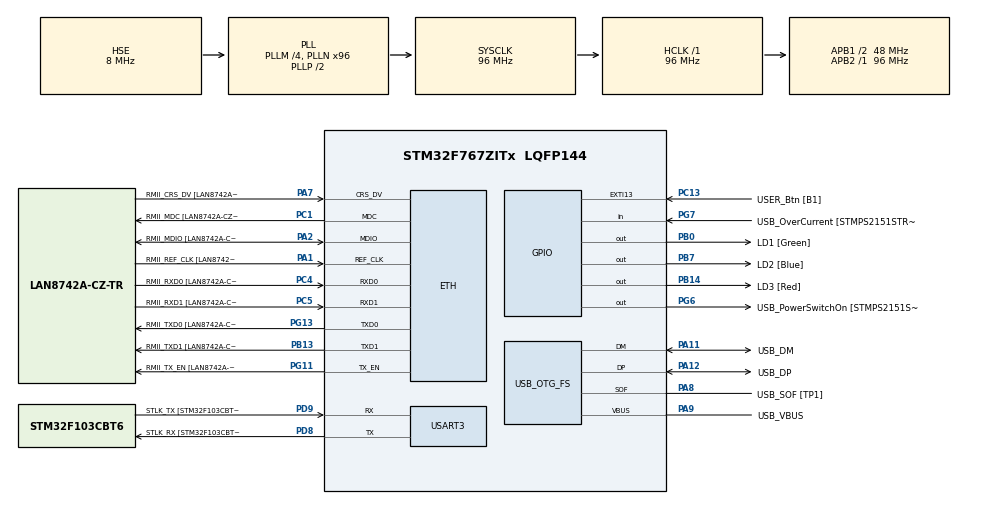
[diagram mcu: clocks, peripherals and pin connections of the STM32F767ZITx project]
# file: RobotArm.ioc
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CORTEX_M7.AccessPermission-Cortex_Memory_Protection_Unit_Region0_Settings=MPU_REGION_FULL_ACCESS
CORTEX_M7.AccessPermission-Cortex_Memory_Protection_Unit_Region1_Settings=MPU_REGION_FULL_ACCESS
CORTEX_M7.BaseAddress-Cortex_Memory_Protection_Unit_Region0_Settings=0x2007C000
CORTEX_M7.BaseAddress-Cortex_Memory_Protection_Unit_Region1_Settings=0x2007C000
CORTEX_M7.CPU_DCache=Disabled
CORTEX_M7.CPU_ICache=Disabled
CORTEX_M7.Enable-Cortex_Memory_Protection_Unit_Region0_Settings=MPU_REGION_ENABLE
CORTEX_M7.Enable-Cortex_Memory_Protection_Unit_Region1_Settings=MPU_REGION_ENABLE
CORTEX_M7.Enable_S-Cortex_Memory_Protection_Unit_Region1_Settings_S=__NULL
CORTEX_M7.IsBufferable-Cortex_Memory_Protection_Unit_Region1_Settings=MPU_ACCESS_BUFFERABLE
CORTEX_M7.IsShareable-Cortex_Memory_Protection_Unit_Region0_Settings=MPU_ACCESS_SHAREABLE
CORTEX_M7.IsShareable-Cortex_Memory_Protection_Unit_Region1_Settings=MPU_ACCESS_SHAREABLE
CORTEX_M7.MPU_Control=MPU_PRIVILEGED_DEFAULT
CORTEX_M7.Size-Cortex_Memory_Protection_Unit_Region0_Settings=MPU_REGION_SIZE_16KB
CORTEX_M7.Size-Cortex_Memory_Protection_Unit_Region1_Settings=MPU_REGION_SIZE_256B
CORTEX_M7.TypeExtField-Cortex_Memory_Protection_Unit_Region0_Settings=MPU_TEX_LEVEL1
CORTEX_M7.default_mode_Activation=0
ETH.MediaInterface=HAL_ETH_RMII_MODE
ETH.PHY_Name=LAN8742A_PHY_ADDRESS
ETH.PHY_Value=0
ETH.PhyAddress=0
FREERTOS.Tasks01=defaultTask,24,256,StartDefaultTask,Default,NULL,Dynamic,NULL,NULL
LWIP.BSP.number=1
LWIP.GATEWAY_ADDRESS=192.168.001.001
LWIP.IP_ADDRESS=192.168.001.010
LWIP.LWIP_DHCP=0
LWIP.NETMASK_ADDRESS=255.255.255.000
LWIP.Version=v2.1.2_Cube
LWIP0.BSP.STBoard=false
LWIP0.BSP.api=BSP_COMPONENT_DRIVER
LWIP0.BSP.component=LAN8742
LWIP0.BSP.instance=LAN8742
LWIP0.BSP.name=Driver_PHY
LWIP0.BSP.semaphore=S_LAN8742
LWIP0.BSP.solution=LAN8742
Mcu.Family=STM32F7
Mcu.Name=STM32F767ZITx
Mcu.Package=LQFP144
NVIC.ETH_IRQn=true\:5\:0\:false\:false\:true\:true\:false\:true\:true
NVIC.PriorityGroup=NVIC_PRIORITYGROUP_4
NVIC.TIM1_UP_TIM10_IRQn=true\:15\:0\:false\:false\:true\:false\:false\:true\:true
NVIC.TimeBase=TIM1_UP_TIM10_IRQn
NVIC.TimeBaseIP=TIM1
PA1.GPIO_Label=RMII_REF_CLK [LAN8742A-CZ-TR_REFCLK0]
PA1.Mode=RMII
PA1.Signal=ETH_REF_CLK
PA10.GPIO_Label=USB_ID
PA10.Signal=USB_OTG_FS_ID
PA11.GPIO_Label=USB_DM
PA11.Mode=Device_Only
PA11.Signal=USB_OTG_FS_DM
PA12.GPIO_Label=USB_DP
PA12.Mode=Device_Only
PA12.Signal=USB_OTG_FS_DP
PA13.GPIO_Label=TMS
PA13.Mode=Serial_Wire
PA13.Signal=SYS_JTMS-SWDIO
PA14.GPIO_Label=TCK
PA14.Mode=Serial_Wire
PA14.Signal=SYS_JTCK-SWCLK
PA2.GPIO_Label=RMII_MDIO [LAN8742A-CZ-TR_MDIO]
PA2.Mode=RMII
PA2.Signal=ETH_MDIO
PA7.GPIO_Label=RMII_CRS_DV [LAN8742A-CZ-TR_CRS_DV]
PA7.Mode=RMII
PA7.Signal=ETH_CRS_DV
PA8.GPIO_Label=USB_SOF [TP1]
PA8.Mode=Activate_SOF_FS
PA8.Signal=USB_OTG_FS_SOF
PA9.GPIO_Label=USB_VBUS
PA9.Mode=Activate_VBUS
PA9.Signal=USB_OTG_FS_VBUS
PB0.GPIO_Label=LD1 [Green]
PB0.Signal=GPIO_Output
PB13.GPIO_Label=RMII_TXD1 [LAN8742A-CZ-TR_TXD1]
PB13.Mode=RMII
PB13.Signal=ETH_TXD1
PB14.GPIO_Label=LD3 [Red]
PB14.Signal=GPIO_Output
PB3.GPIO_Label=SWO
PB3.Signal=SYS_JTDO-SWO
PB7.GPIO_Label=LD2 [Blue]
PB7.Signal=GPIO_Output
PC1.GPIO_Label=RMII_MDC [LAN8742A-CZ-TR_MDC]
PC1.Mode=RMII
PC1.Signal=ETH_MDC
PC13.GPIO_Label=USER_Btn [B1]
PC13.Signal=GPXTI13
PC14/OSC32_IN.Mode=LSE-External-Oscillator
PC14/OSC32_IN.Signal=RCC_OSC32_IN
PC15/OSC32_OUT.Mode=LSE-External-Oscillator
PC15/OSC32_OUT.Signal=RCC_OSC32_OUT
PC4.GPIO_Label=RMII_RXD0 [LAN8742A-CZ-TR_RXD0]
PC4.Mode=RMII
PC4.Signal=ETH_RXD0
PC5.GPIO_Label=RMII_RXD1 [LAN8742A-CZ-TR_RXD1]
PC5.Mode=RMII
PC5.Signal=ETH_RXD1
PD8.GPIO_Label=STLK_RX [STM32F103CBT6_PA3]
PD8.Mode=Asynchronous
PD8.Signal=USART3_TX
PD9.GPIO_Label=STLK_TX [STM32F103CBT6_PA2]
PD9.Mode=Asynchronous
PD9.Signal=USART3_RX
PG11.GPIO_Label=RMII_TX_EN [LAN8742A-CZ-TR_TXEN]
PG11.Mode=RMII
PG11.Signal=ETH_TX_EN
PG13.GPIO_Label=RMII_TXD0 [LAN8742A-CZ-TR_TXD0]
PG13.Mode=RMII
PG13.Signal=ETH_TXD0
PG6.GPIO_Label=USB_PowerSwitchOn [STMPS2151STR_EN]
PG6.Signal=GPIO_Output
PG7.GPIO_Label=USB_OverCurrent [STMPS2151STR_FAULT]
PG7.Signal=GPIO_Input
PH0/OSC_IN.GPIO_Label=MCO [STM32F103CBT6_PA8]
PH0/OSC_IN.Mode=HSE-External-Clock-Source
PH0/OSC_IN.Signal=RCC_OSC_IN
PH1/OSC_OUT.Mode=HSE-External-Clock-Source
PH1/OSC_OUT.Signal=RCC_OSC_OUT
ProjectManager.HeapSize=0x200
ProjectManager.StackSize=0x400
ProjectManager.TargetToolchain=Makefile
RCC.48MHZClocksFreq_Value=24000000
RCC.AHBFreq_Value=96000000
RCC.APB1CLKDivider=RCC_HCLK_DIV2
RCC.APB1Freq_Value=48000000
RCC.APB1TimFreq_Value=96000000
RCC.APB2Freq_Value=96000000
RCC.APB2TimFreq_Value=96000000
RCC.CortexFreq_Value=96000000
RCC.HCLKFreq_Value=96000000
RCC.HSE_VALUE=8000000
RCC.HSI_VALUE=16000000
RCC.PLLM=4
RCC.PLLMUL=RCC_PLL_MUL9
RCC.PLLN=96
RCC.PLLQ=4
RCC.PRESCALERUSB=RCC_USBCLKSOURCE_PLL_DIV1_5
RCC.SYSCLKFreq_VALUE=96000000
RCC.SYSCLKSource=RCC_SYSCLKSOURCE_PLLCLK
RCC.SYSCLKSourceVirtual=RCC_SYSCLKSOURCE_PLLCLK
RCC.USBFreq_Value=48000000
RCC.VCOOutputFreq_Value=192000000
USART3.VirtualMode-Asynchronous=VM_ASYNC
USB_OTG_FS.VirtualMode=Device_Only
VP_FREERTOS_VS_CMSIS_V2.Mode=CMSIS_V2
VP_LWIP_VS_Enabled.Mode=Enabled
VP_SYS_VS_tim1.Mode=TIM1
board=NUCLEO-F767ZI

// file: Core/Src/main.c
/* USER CODE BEGIN Header */
/**
  ******************************************************************************
  * @file           : main.c
  * @brief          : Main program body
  ******************************************************************************
  * @attention
  *
  * Copyright (c) 2025 STMicroelectronics.
  * All rights reserved.
  *
  * This software is licensed under terms that can be found in the LICENSE file
  * in the root directory of this software component.
  * If no LICENSE file comes with this software, it is provided AS-IS.
  *
  ******************************************************************************
  */
/* USER CODE END Header */
#include "main.h"
#include "cmsis_os.h"
#include "lwip.h"
#include "usart.h"
#include "usb_otg.h"
#include "gpio.h"

void SystemClock_Config(void);
static void MPU_Config(void);
void MX_FREERTOS_Init(void);

int main(void)
{

  /* MPU Configuration--------------------------------------------------------*/
  MPU_Config();

  /* MCU Configuration--------------------------------------------------------*/

  /* Reset of all peripherals, Initializes the Flash interface and the Systick. */
  HAL_Init();

  /* Configure the system clock */
  SystemClock_Config();

  /* Initialize all configured peripherals */
  MX_GPIO_Init();
  MX_USART3_UART_Init();
  MX_USB_OTG_FS_PCD_Init();

  /* Init scheduler */
  osKernelInitialize();

  /* Call init function for freertos objects (in cmsis_os2.c) */
  MX_FREERTOS_Init();

  /* Start scheduler */
  osKernelStart();

  /* We should never get here as control is now taken by the scheduler */

  /* Infinite loop */
  while (1)
  {

  }
}

void SystemClock_Config(void)
{
  RCC_OscInitTypeDef RCC_OscInitStruct = {0};
  RCC_ClkInitTypeDef RCC_ClkInitStruct = {0};

  /** Configure LSE Drive Capability
  */
  HAL_PWR_EnableBkUpAccess();

  /** Configure the main internal regulator output voltage
  */
  __HAL_RCC_PWR_CLK_ENABLE();
  __HAL_PWR_VOLTAGESCALING_CONFIG(PWR_REGULATOR_VOLTAGE_SCALE3);

  /** Initializes the RCC Oscillators according to the specified parameters
  * in the RCC_OscInitTypeDef structure.
  */
  RCC_OscInitStruct.OscillatorType = RCC_OSCILLATORTYPE_HSE;
  RCC_OscInitStruct.HSEState = RCC_HSE_BYPASS;
  RCC_OscInitStruct.PLL.PLLState = RCC_PLL_ON;
  RCC_OscInitStruct.PLL.PLLSource = RCC_PLLSOURCE_HSE;
  RCC_OscInitStruct.PLL.PLLM = 4;
  RCC_OscInitStruct.PLL.PLLN = 96;
  RCC_OscInitStruct.PLL.PLLP = RCC_PLLP_DIV2;
  RCC_OscInitStruct.PLL.PLLQ = 4;
  RCC_OscInitStruct.PLL.PLLR = 2;
  if (HAL_RCC_OscConfig(&RCC_OscInitStruct) != HAL_OK)
  {
    Error_Handler();
  }

  /** Activate the Over-Drive mode
  */
  if (HAL_PWREx_EnableOverDrive() != HAL_OK)
  {
    Error_Handler();
  }

  /** Initializes the CPU, AHB and APB buses clocks
  */
  RCC_ClkInitStruct.ClockType = RCC_CLOCKTYPE_HCLK|RCC_CLOCKTYPE_SYSCLK
                              |RCC_CLOCKTYPE_PCLK1|RCC_CLOCKTYPE_PCLK2;
  RCC_ClkInitStruct.SYSCLKSource = RCC_SYSCLKSOURCE_PLLCLK;
  RCC_ClkInitStruct.AHBCLKDivider = RCC_SYSCLK_DIV1;
  RCC_ClkInitStruct.APB1CLKDivider = RCC_HCLK_DIV2;
  RCC_ClkInitStruct.APB2CLKDivider = RCC_HCLK_DIV1;

  if (HAL_RCC_ClockConfig(&RCC_ClkInitStruct, FLASH_LATENCY_3) != HAL_OK)
  {
    Error_Handler();
  }
}

 /* MPU Configuration */

void MPU_Config(void)
{
  MPU_Region_InitTypeDef MPU_InitStruct = {0};

  /* Disables the MPU */
  HAL_MPU_Disable();

  /** Initializes and configures the Region and the memory to be protected
  */
  MPU_InitStruct.Enable = MPU_REGION_ENABLE;
  MPU_InitStruct.Number = MPU_REGION_NUMBER0;
  MPU_InitStruct.BaseAddress = 0x2007C000;
  MPU_InitStruct.Size = MPU_REGION_SIZE_16KB;
  MPU_InitStruct.SubRegionDisable = 0x0;
  MPU_InitStruct.TypeExtField = MPU_TEX_LEVEL1;
  MPU_InitStruct.AccessPermission = MPU_REGION_FULL_ACCESS;
  MPU_InitStruct.DisableExec = MPU_INSTRUCTION_ACCESS_ENABLE;
  MPU_InitStruct.IsShareable = MPU_ACCESS_SHAREABLE;
  MPU_InitStruct.IsCacheable = MPU_ACCESS_NOT_CACHEABLE;
  MPU_InitStruct.IsBufferable = MPU_ACCESS_NOT_BUFFERABLE;

  HAL_MPU_ConfigRegion(&MPU_InitStruct);

  /** Initializes and configures the Region and the memory to be protected
  */
  MPU_InitStruct.Number = MPU_REGION_NUMBER1;
  MPU_InitStruct.Size = MPU_REGION_SIZE_256B;
  MPU_InitStruct.TypeExtField = MPU_TEX_LEVEL0;
  MPU_InitStruct.IsBufferable = MPU_ACCESS_BUFFERABLE;

  HAL_MPU_ConfigRegion(&MPU_InitStruct);
  /* Enables the MPU */
  HAL_MPU_Enable(MPU_PRIVILEGED_DEFAULT);

}

void HAL_TIM_PeriodElapsedCallback(TIM_HandleTypeDef *htim)
{
  if (htim->Instance == TIM1)
  {
    HAL_IncTick();
  }
}

void Error_Handler(void)
{
  __disable_irq();
  while (1)
  {
  }
}

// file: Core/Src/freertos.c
/* USER CODE BEGIN Header */
/**
  ******************************************************************************
  * File Name          : freertos.c
  * Description        : Code for freertos applications
  ******************************************************************************
  * @attention
  *
  * Copyright (c) 2025 STMicroelectronics.
  * All rights reserved.
  *
  * This software is licensed under terms that can be found in the LICENSE file
  * in the root directory of this software component.
  * If no LICENSE file comes with this software, it is provided AS-IS.
  *
  ******************************************************************************
  */
/* USER CODE END Header */

#include "FreeRTOS.h"
#include "task.h"
#include "main.h"
#include "cmsis_os.h"

/* USER CODE BEGIN Includes */
#include "gpio.h"
#include "tcp_app.h"
/* USER CODE END Includes */

/* Definitions for defaultTask */
osThreadId_t defaultTaskHandle;
const osThreadAttr_t defaultTask_attributes = {
  .name = "defaultTask",
  .stack_size = 256 * 4,
  .priority = (osPriority_t) osPriorityNormal,
};

/* USER CODE BEGIN FunctionPrototypes */
osThreadId_t Ld1Blink;
osThreadId_t Ld2Blink;
osThreadId_t Ld3Blink;

extern osThreadId_t TcpTaskHandle;

const osThreadAttr_t Ld3Blink_attributes = {
  .name = "Ld3Blink",
  .stack_size = 128 * 4,
  .priority = (osPriority_t) osPriorityNormal,
};
const osThreadAttr_t Ld2Blink_attributes = {
  .name = "Ld2Blink",
  .stack_size = 128 * 4,
  .priority = (osPriority_t) osPriorityNormal,
};
const osThreadAttr_t Ld1Blink_attributes = {
  .name = "Ld1Blink",
  .stack_size = 128 * 4,
  .priority = (osPriority_t) osPriorityNormal,
};

extern const osThreadAttr_t TcpTask_attributes;

void StartLd1Blink(void *argument);
void StartLd2Blink(void *argument);
void StartLd3Blink(void *argument);
/* USER CODE END FunctionPrototypes */

void StartDefaultTask(void *argument);

extern void MX_LWIP_Init(void);
void MX_FREERTOS_Init(void); /* (MISRA C 2004 rule 8.1) */

void MX_FREERTOS_Init(void) {

  /* Create the thread(s) */
  /* creation of defaultTask */
  defaultTaskHandle = osThreadNew(StartDefaultTask, NULL, &defaultTask_attributes);

  /* USER CODE BEGIN RTOS_THREADS */
  /* add threads, ... */
    Ld1Blink = osThreadNew(StartLd1Blink, NULL, &Ld1Blink_attributes);
    Ld2Blink = osThreadNew(StartLd2Blink, NULL, &Ld2Blink_attributes);
    Ld3Blink = osThreadNew(StartLd3Blink, NULL, &Ld3Blink_attributes);

  /* USER CODE END RTOS_THREADS */

}

void StartDefaultTask(void *argument)
{
  /* init code for LWIP */
  MX_LWIP_Init();
  /* USER CODE BEGIN StartDefaultTask */
  TcpTaskHandle = osThreadNew(StartTcpTask, NULL, &TcpTask_attributes);
  /* Infinite loop */
  for(;;)
  {
    osDelay(1000);
  }
  /* USER CODE END StartDefaultTask */
}

/* USER CODE BEGIN Application */
void StartLd1Blink(void *argument) {
  while(1) {
    HAL_GPIO_TogglePin(LD1_GPIO_Port, LD1_Pin);
    osDelay(1000);
  }

}
void StartLd2Blink(void *argument) {
  while(1) {
    HAL_GPIO_TogglePin(LD2_GPIO_Port, LD2_Pin);
    osDelay(450);
  }

}
void StartLd3Blink(void *argument) {
  while(1) {
    HAL_GPIO_TogglePin(LD3_GPIO_Port, LD3_Pin);
    osDelay(200);
  }

}
/* USER CODE END Application */
